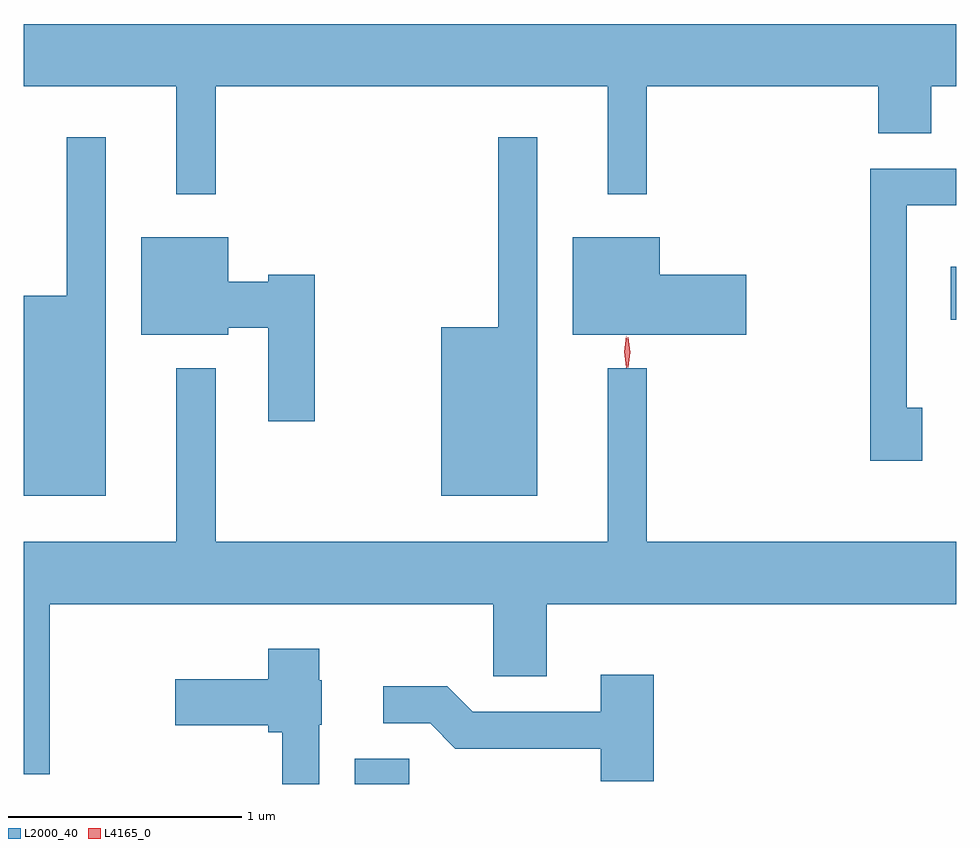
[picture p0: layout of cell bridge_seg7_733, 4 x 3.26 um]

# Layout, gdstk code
import gdstk
lib = gdstk.Library(unit=1e-6, precision=1e-09)
def R(c, l, rs):  # rectangles x0, y0, x1, y1
    for r in rs: c.add(gdstk.rectangle(r[:2], r[2:], *l))
def P(c, l, *ps):  # polygons
    for p in ps: c.add(gdstk.Polygon(p, *l))
L2000_40 = (2000, 40)
L4165_0 = (4165, 0)

bridge_seg7_733 = lib.new_cell('bridge_seg7_733')
R(bridge_seg7_733, L2000_40, [(522.026,1766.825,522.259,1766.934), (524.581,1768.816,524.606,1769.044)])
P(bridge_seg7_733, L2000_40, [(521.429,1769.816),(523.111,1769.816),(523.111,1769.353),(523.279,1769.353),(523.279,1769.816),(524.271,1769.816),(524.271,1769.616),(524.499,1769.616),(524.499,1769.816),(524.606,1769.816),(524.606,1770.084),(520.606,1770.084),(520.606,1769.816),(521.261,1769.816),(521.261,1769.353),(521.429,1769.353)],
  [(520.959,1769.598),(520.791,1769.598),(520.791,1768.919),(520.606,1768.919),(520.606,1768.061),(520.959,1768.061)],
  [(522.809,1769.598),(522.641,1769.598),(522.641,1768.784),(522.396,1768.784),(522.396,1768.061),(522.809,1768.061)],
  [(524.459,1768.439),(524.394,1768.439),(524.394,1769.306),(524.606,1769.306),(524.606,1769.464),(524.236,1769.464),(524.236,1768.211),(524.459,1768.211)],
  [(521.854,1769.009),(521.656,1769.009),(521.656,1768.979),(521.484,1768.979),(521.484,1769.169),(521.111,1769.169),(521.111,1768.751),(521.484,1768.751),(521.484,1768.781),(521.656,1768.781),(521.656,1768.381),(521.854,1768.381)],
  [(523.704,1769.009),(523.334,1769.009),(523.334,1769.169),(522.961,1769.169),(522.961,1768.751),(523.704,1768.751)],
  [(520.719,1767.596),(522.621,1767.596),(522.621,1767.286),(522.849,1767.286),(522.849,1767.596),(524.606,1767.596),(524.606,1767.864),(523.279,1767.864),(523.279,1768.608),(523.111,1768.608),(523.111,1767.864),(521.429,1767.864),(521.429,1768.608),(521.261,1768.608),(521.261,1767.864),(520.606,1767.864),(520.606,1766.866),(520.719,1766.866)],
  [(521.874,1767.08),(521.884,1767.08),(521.884,1767.27),(521.874,1767.27),(521.874,1767.404),(521.656,1767.404),(521.656,1767.274),(521.256,1767.274),(521.256,1767.076),(521.656,1767.076),(521.656,1767.046),(521.716,1767.046),(521.716,1766.825),(521.874,1766.825)],
  [(523.309,1767.294),(523.081,1767.294),(523.081,1767.134),(522.532,1767.134),(522.422,1767.244),(522.148,1767.244),(522.148,1767.086),(522.349,1767.086),(522.458,1766.976),(523.081,1766.976),(523.081,1766.836),(523.309,1766.836)])
P(bridge_seg7_733, L4165_0, [(523.197,1768.613),(523.197,1768.613),(523.187,1768.676),(523.197,1768.74),(523.197,1768.74),(523.198,1768.74),(523.207,1768.676),(523.198,1768.613)],
  [(523.191,1768.61),(523.181,1768.678),(523.19,1768.745),(523.191,1768.746),(523.191,1768.745),(523.201,1768.678),(523.192,1768.61),(523.192,1768.61)])

lib.write_gds('bridge_seg7_733.gds')
